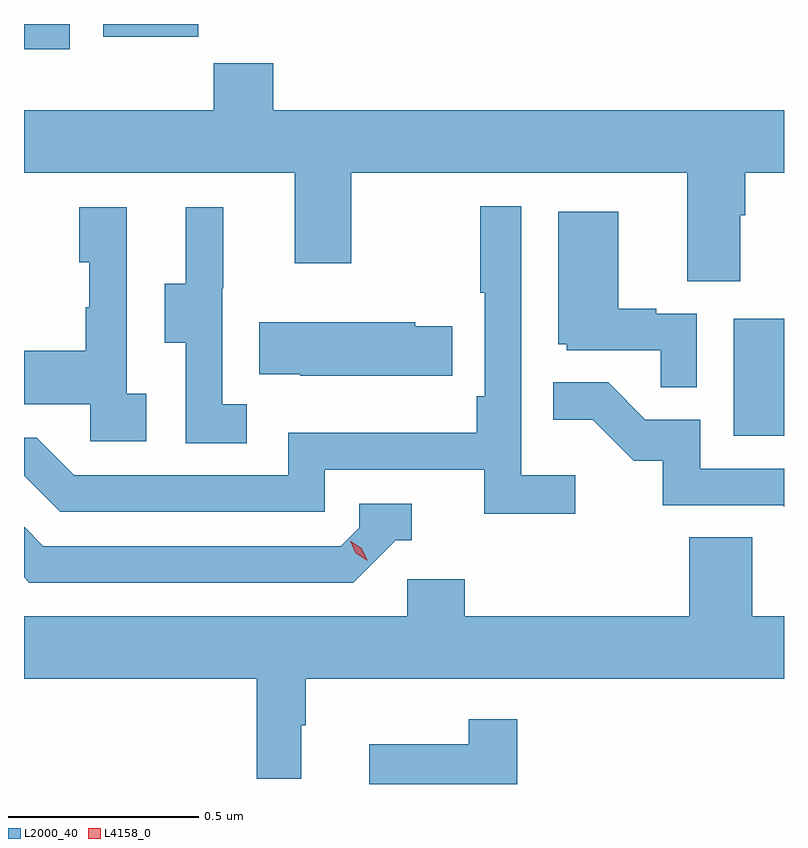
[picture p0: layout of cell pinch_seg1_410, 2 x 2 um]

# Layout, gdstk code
import gdstk
lib = gdstk.Library(unit=1e-6, precision=1e-09)
def R(c, l, rs):  # rectangles x0, y0, x1, y1
    for r in rs: c.add(gdstk.rectangle(r[:2], r[2:], *l))
def P(c, l, *ps):  # polygons
    for p in ps: c.add(gdstk.Polygon(p, *l))
L2000_40 = (2000, 40)
L4158_0 = (4158, 0)

pinch_seg1_410 = lib.new_cell('pinch_seg1_410')
R(pinch_seg1_410, L2000_40, [(1015.178,539.052,1015.31,539.359), (1013.31,540.068,1013.431,540.135), (1013.519,540.102,1013.768,540.135)])
P(pinch_seg1_410, L2000_40, [(1015.195,539.632),(1015.208,539.632),(1015.208,539.744),(1015.31,539.744),(1015.31,539.908),(1013.966,539.908),(1013.966,540.032),(1013.809,540.032),(1013.809,539.908),(1013.31,539.908),(1013.31,539.744),(1014.023,539.744),(1014.023,539.505),(1014.171,539.505),(1014.171,539.744),(1015.055,539.744),(1015.055,539.458),(1015.195,539.458)],
  [(1014.76,538.948),(1014.618,538.948),(1014.618,539.656),(1014.51,539.656),(1014.51,539.428),(1014.522,539.428),(1014.522,539.155),(1014.502,539.155),(1014.502,539.059),(1014.006,539.059),(1014.006,538.947),(1013.442,538.947),(1013.343,539.046),(1013.31,539.046),(1013.31,538.946),(1013.405,538.851),(1014.102,538.851),(1014.102,538.962),(1014.521,538.962),(1014.521,538.846),(1014.76,538.846)],
  [(1013.632,539.162),(1013.58,539.162),(1013.58,539.653),(1013.456,539.653),(1013.456,539.508),(1013.482,539.508),(1013.482,539.39),(1013.472,539.39),(1013.472,539.275),(1013.31,539.275),(1013.31,539.135),(1013.484,539.135),(1013.484,539.037),(1013.632,539.037)],
  [(1013.896,539.135),(1013.832,539.135),(1013.832,539.439),(1013.834,539.439),(1013.834,539.653),(1013.735,539.653),(1013.735,539.451),(1013.681,539.451),(1013.681,539.296),(1013.736,539.296),(1013.736,539.032),(1013.896,539.032)],
  [(1015.08,539.373),(1014.974,539.373),(1014.974,539.386),(1014.874,539.386),(1014.874,539.641),(1014.716,539.641),(1014.716,539.292),(1014.738,539.292),(1014.738,539.277),(1014.985,539.277),(1014.985,539.179),(1015.08,539.179)],
  [(1014.437,539.34),(1014.339,539.34),(1014.339,539.35),(1013.929,539.35),(1013.929,539.213),(1014.037,539.213),(1014.037,539.21),(1014.437,539.21)],
  [(1015.31,538.965),(1015.089,538.965),(1015.089,539.094),(1014.945,539.094),(1014.847,539.192),(1014.703,539.192),(1014.703,539.093),(1014.807,539.093),(1014.914,538.986),(1014.991,538.986),(1014.991,538.869),(1015.309,538.869),(1015.309,538.864),(1015.31,538.864)],
  [(1014.288,538.776),(1014.331,538.776),(1014.331,538.872),(1014.192,538.872),(1014.192,538.809),(1014.144,538.761),(1013.361,538.761),(1013.31,538.812),(1013.31,538.679),(1013.324,538.665),(1014.177,538.665)],
  [(1014.04,538.289),(1014.052,538.289),(1014.052,538.412),(1015.31,538.412),(1015.31,538.576),(1015.226,538.576),(1015.226,538.784),(1015.061,538.784),(1015.061,538.576),(1014.47,538.576),(1014.47,538.674),(1014.318,538.674),(1014.318,538.576),(1013.31,538.576),(1013.31,538.412),(1013.923,538.412),(1013.923,538.149),(1014.04,538.149)],
  [(1014.608,538.306),(1014.48,538.306),(1014.48,538.24),(1014.218,538.24),(1014.218,538.135),(1014.608,538.135)])
P(pinch_seg1_410, L4158_0, [(1014.214,538.722),(1014.183,538.742),(1014.168,538.775),(1014.168,538.775),(1014.168,538.775),(1014.198,538.755),(1014.214,538.722),(1014.214,538.722)])

lib.write_gds('pinch_seg1_410.gds')
